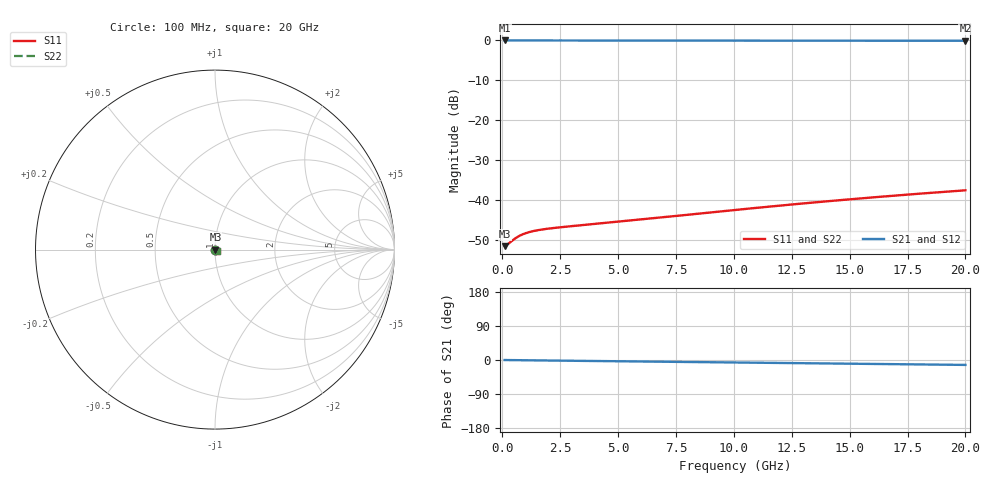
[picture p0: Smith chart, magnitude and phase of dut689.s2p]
! Touchstone file exported from HFSS 2026.1.0
!  File:  C:/ffzhzh/LocalFiles/Ansys_Project_Files/temp_train_BSMRDL_689_1783017659_4048.aedt
!  Generated:  02:42:17 AM Jul  3, 2026
!  Design:  BSMRDL
!  Project:  temp_train_BSMRDL_689_1783017659_4048
! Variables:
!  h_bsmrdl = 2.87um
!  h_ox = 20um
!  h_rdl = 5um
!  h_sub = 80um
!  h_tmrdl = 5um
!  h_tsv = 80um
!  h_via = 3um
!  l_bsmrdl = 229.63um
!  l_sub = 629.63um
!  l_tmrdl = 200um
!  m_sub = 200um
!  pitch = 13.8um
!  r_tsv = 6um
!  s_tmrdl = 10um
!  w_bsmrdl = 11.55um
!  w_sub = 500um
!  w_tmrdl = 12um
!  x_tsv_center1 = 206um
!  x_tsv_center2 = 447.18um
!  x_tsv_center3 = 659.18um
!  x_tsv_center4 = 900.36um
!  x_tsv_center5 = 1112.36um
!  x_tsv_center6 = 1353.54um
# GHz S MA R 50.000000
! Terminal data exported
! Port[1] = BSM_RDL1_1_T1
! Port[2] = BSM_RDL1_1_T2
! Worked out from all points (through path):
!   200 points, 100 MHz to 20 GHz, reference 50 ohm
!   highest |S21| = -0.02 dB at 100 MHz (marker M1); lowest = -0.1 dB at 20 GHz (marker M2)
!   group delay of S21, straight-line fit = 1.79 ps
!   lowest |S11| = -51.5 dB at 100 MHz (marker M3), VSWR 1.01, Z = 50.3 + j0.0222 ohm
!   |S11| at or under -10 dB: start of sweep to end of sweep
!   |S22| runs from -51.5 to -37.5 dB; largest |S21 - S12| = 1.3e-14
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0.1  0.002658 4.8  0.9974 -0.1  0.9974 -0.1  0.002658 4.8
! Gamma 0 0 0 0
! Port Impedance 50 0 50 0
0.2  0.002759 8.8  0.9973 -0.2  0.9973 -0.2  0.002759 8.8
0.5  0.00323 14.6  0.9969 -0.4  0.9969 -0.4  0.00323 14.6
0.6  0.003386 15.0  0.9967 -0.5  0.9967 -0.5  0.003386 15.0
0.7  0.003527 14.9  0.9966 -0.5  0.9966 -0.5  0.003527 14.9
0.8  0.003651 14.6  0.9965 -0.6  0.9965 -0.6  0.003651 14.6
0.9  0.003761 14.1  0.9964 -0.7  0.9964 -0.7  0.003761 14.1
1  0.003857 13.6  0.9963 -0.7  0.9963 -0.7  0.003857 13.6
1.2  0.004015 12.5  0.9961 -0.9  0.9961 -0.9  0.004015 12.5
1.5  0.004194 10.8  0.9959 -1.0  0.9959 -1.0  0.004194 10.8
2  0.00441 8.6  0.9957 -1.4  0.9957 -1.4  0.00441 8.6
2.6  0.004612 6.4  0.9954 -1.8  0.9954 -1.8  0.004611 6.4
3.5  0.004887 3.7  0.9951 -2.4  0.9951 -2.4  0.004887 3.7
5.1  0.005408 -0.5  0.9946 -3.4  0.9946 -3.4  0.005408 -0.5
6.8  0.006055 -5.1  0.9939 -4.5  0.9939 -4.5  0.006055 -5.1
10.1  0.007569 -14.6  0.9925 -6.7  0.9925 -6.7  0.00757 -14.6
11.8  0.008454 -19.6  0.9917 -7.8  0.9917 -7.8  0.008454 -19.6
13.4  0.009334 -24.3  0.991 -8.8  0.991 -8.8  0.009335 -24.2
15  0.01025 -28.7  0.9902 -9.8  0.9902 -9.8  0.01025 -28.7
16.7  0.01126 -33.2  0.9895 -10.9  0.9895 -10.9  0.01126 -33.2
18.3  0.01223 -37.3  0.9888 -11.9  0.9888 -11.9  0.01224 -37.2
20  0.01329 -41.3  0.9882 -13.0  0.9882 -13.0  0.01329 -41.3
